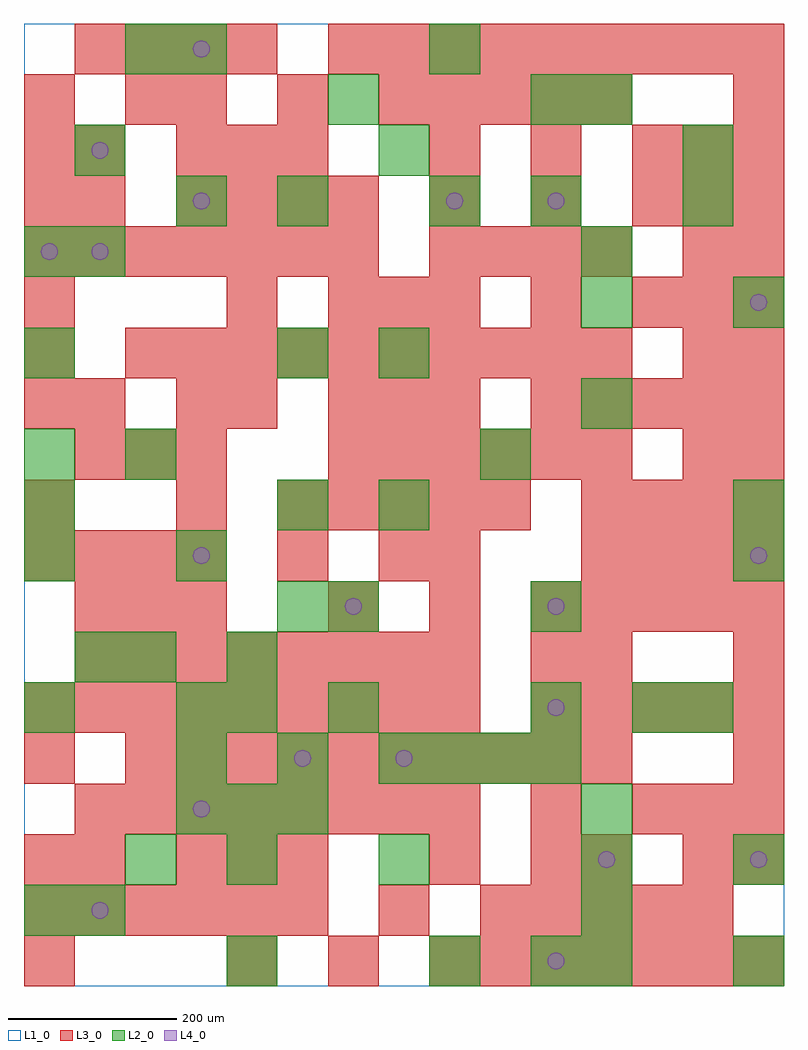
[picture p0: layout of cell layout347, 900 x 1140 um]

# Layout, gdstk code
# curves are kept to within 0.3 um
import gdstk
lib = gdstk.Library(unit=1e-6, precision=1e-09)
def R(c, l, rs):  # rectangles x0, y0, x1, y1
    for r in rs: c.add(gdstk.rectangle(r[:2], r[2:], *l))
def A(c, l, x, y, w, h, nx, ny, dx, dy):  # array of equal rectangles
    R(c, l, [(x+i*dx, y+j*dy, x+i*dx+w, y+j*dy+h) for i in range(nx) for j in range(ny)])
def P(c, l, *ps):  # polygons
    for p in ps: c.add(gdstk.Polygon(p, *l))
L1_0 = (1, 0)
L2_0 = (2, 0)
L3_0 = (3, 0)
L4_0 = (4, 0)

layout347 = lib.new_cell('layout347')
R(layout347, L1_0, [(0,0,900,1140)])
A(layout347, L2_0, 660, 0, 60, 60, 1, 4, 0, 60)
A(layout347, L2_0, 120, 120, 60, 60, 1, 3, 0, 240)
A(layout347, L2_0, 180, 180, 60, 60, 3, 1, 60, 0)
A(layout347, L2_0, 180, 240, 60, 60, 3, 1, 120, 0)
A(layout347, L2_0, 480, 240, 60, 60, 3, 1, 60, 0)
A(layout347, L2_0, 0, 480, 60, 60, 1, 3, 0, 60)
A(layout347, L2_0, 300, 540, 60, 60, 1, 3, 0, 180)
A(layout347, L2_0, 60, 960, 60, 60, 3, 1, 360, 0)
R(layout347, L2_0, [(240,0,300,60), (480,0,540,60), (600,0,660,60), (840,0,900,60), (0,60,60,120), (60,60,120,120), (240,120,300,180), (420,120,480,180), (840,120,900,180), (0,300,60,360), (180,300,240,360), (240,300,300,360), (360,300,420,360), (600,300,660,360), (720,300,780,360), (780,300,840,360), (60,360,120,420), (240,360,300,420), (300,420,360,480), (360,420,420,480), (600,420,660,480), (180,480,240,540), (840,480,900,540), (420,540,480,600), (840,540,900,600), (540,600,600,660), (660,660,720,720), (0,720,60,780), (420,720,480,780), (660,780,720,840), (840,780,900,840), (0,840,60,900), (60,840,120,900), (660,840,720,900), (180,900,240,960), (480,900,540,960), (600,900,660,960), (780,900,840,960), (360,1020,420,1080), (600,1020,660,1080), (660,1020,720,1080), (120,1080,180,1140), (180,1080,240,1140), (480,1080,540,1140)])
A(layout347, L3_0, 0, 0, 60, 60, 1, 3, 0, 120)
A(layout347, L3_0, 240, 0, 60, 60, 3, 1, 120, 0)
A(layout347, L3_0, 540, 0, 60, 60, 6, 1, 60, 0)
A(layout347, L3_0, 0, 60, 60, 60, 6, 1, 60, 0)
A(layout347, L3_0, 540, 60, 60, 60, 5, 1, 60, 0)
A(layout347, L3_0, 180, 120, 60, 60, 3, 2, 60, 840)
A(layout347, L3_0, 840, 120, 60, 60, 1, 3, 0, 120)
A(layout347, L3_0, 60, 180, 60, 60, 8, 2, 60, 180)
A(layout347, L3_0, 720, 180, 60, 60, 3, 2, 60, 600)
A(layout347, L3_0, 120, 240, 60, 60, 10, 2, 60, 480)
A(layout347, L3_0, 0, 300, 60, 60, 9, 1, 60, 0)
A(layout347, L3_0, 600, 300, 60, 60, 5, 2, 60, 360)
A(layout347, L3_0, 60, 420, 60, 60, 3, 2, 60, 180)
A(layout347, L3_0, 360, 420, 60, 60, 3, 1, 120, 0)
A(layout347, L3_0, 660, 420, 60, 60, 4, 3, 60, 60)
A(layout347, L3_0, 0, 480, 60, 60, 4, 1, 60, 0)
A(layout347, L3_0, 300, 540, 60, 60, 5, 1, 60, 0)
A(layout347, L3_0, 360, 600, 60, 60, 6, 1, 60, 0)
A(layout347, L3_0, 780, 600, 60, 60, 1, 3, 0, 120)
A(layout347, L3_0, 840, 600, 60, 60, 1, 3, 0, 120)
A(layout347, L3_0, 0, 660, 60, 60, 1, 3, 0, 60)
A(layout347, L3_0, 360, 660, 60, 60, 3, 2, 60, 120)
A(layout347, L3_0, 0, 840, 60, 60, 7, 1, 60, 0)
A(layout347, L3_0, 480, 840, 60, 60, 4, 2, 60, 180)
A(layout347, L3_0, 0, 900, 60, 60, 1, 3, 0, 60)
A(layout347, L3_0, 180, 900, 60, 60, 4, 1, 60, 0)
A(layout347, L3_0, 480, 900, 60, 60, 3, 2, 120, 60)
A(layout347, L3_0, 840, 900, 60, 60, 1, 3, 0, 60)
A(layout347, L3_0, 180, 1020, 60, 60, 3, 1, 120, 0)
A(layout347, L3_0, 60, 1080, 60, 60, 4, 1, 60, 0)
A(layout347, L3_0, 360, 1080, 60, 60, 9, 1, 60, 0)
R(layout347, L3_0, [(420,60,480,120), (60,120,120,180), (480,120,540,180), (600,120,660,180), (660,120,720,180), (780,120,840,180), (600,180,660,240), (600,360,660,420), (660,360,720,420), (300,480,360,540), (420,480,480,540), (480,480,540,540), (0,540,60,600), (180,540,240,600), (60,660,120,720), (180,660,240,720), (240,660,300,720), (240,780,300,840), (600,780,660,840), (60,900,120,960), (780,900,840,960), (60,960,120,1020), (780,960,840,1020), (120,1020,180,1080)])
P(layout347, L4_0, [(40,870),(39.239,873.827),(37.071,877.071),(33.827,879.239),(30,880),(26.173,879.239),(22.929,877.071),(20.761,873.827),(20,870),(20.761,866.173),(22.929,862.929),(26.173,860.761),(30,860),(33.827,860.761),(37.071,862.929),(39.239,866.173)],
  [(100,90),(99.239,93.827),(97.071,97.071),(93.827,99.239),(90,100),(86.173,99.239),(82.929,97.071),(80.761,93.827),(80,90),(80.761,86.173),(82.929,82.929),(86.173,80.761),(90,80),(93.827,80.761),(97.071,82.929),(99.239,86.173)],
  [(100,870),(99.239,873.827),(97.071,877.071),(93.827,879.239),(90,880),(86.173,879.239),(82.929,877.071),(80.761,873.827),(80,870),(80.761,866.173),(82.929,862.929),(86.173,860.761),(90,860),(93.827,860.761),(97.071,862.929),(99.239,866.173)],
  [(100,990),(99.239,993.827),(97.071,997.071),(93.827,999.239),(90,1000),(86.173,999.239),(82.929,997.071),(80.761,993.827),(80,990),(80.761,986.173),(82.929,982.929),(86.173,980.761),(90,980),(93.827,980.761),(97.071,982.929),(99.239,986.173)],
  [(220,210),(219.239,213.827),(217.071,217.071),(213.827,219.239),(210,220),(206.173,219.239),(202.929,217.071),(200.761,213.827),(200,210),(200.761,206.173),(202.929,202.929),(206.173,200.761),(210,200),(213.827,200.761),(217.071,202.929),(219.239,206.173)],
  [(220,510),(219.239,513.827),(217.071,517.071),(213.827,519.239),(210,520),(206.173,519.239),(202.929,517.071),(200.761,513.827),(200,510),(200.761,506.173),(202.929,502.929),(206.173,500.761),(210,500),(213.827,500.761),(217.071,502.929),(219.239,506.173)],
  [(220,930),(219.239,933.827),(217.071,937.071),(213.827,939.239),(210,940),(206.173,939.239),(202.929,937.071),(200.761,933.827),(200,930),(200.761,926.173),(202.929,922.929),(206.173,920.761),(210,920),(213.827,920.761),(217.071,922.929),(219.239,926.173)],
  [(220,1110),(219.239,1113.827),(217.071,1117.071),(213.827,1119.239),(210,1120),(206.173,1119.239),(202.929,1117.071),(200.761,1113.827),(200,1110),(200.761,1106.173),(202.929,1102.929),(206.173,1100.761),(210,1100),(213.827,1100.761),(217.071,1102.929),(219.239,1106.173)],
  [(340,270),(339.239,273.827),(337.071,277.071),(333.827,279.239),(330,280),(326.173,279.239),(322.929,277.071),(320.761,273.827),(320,270),(320.761,266.173),(322.929,262.929),(326.173,260.761),(330,260),(333.827,260.761),(337.071,262.929),(339.239,266.173)],
  [(400,450),(399.239,453.827),(397.071,457.071),(393.827,459.239),(390,460),(386.173,459.239),(382.929,457.071),(380.761,453.827),(380,450),(380.761,446.173),(382.929,442.929),(386.173,440.761),(390,440),(393.827,440.761),(397.071,442.929),(399.239,446.173)],
  [(460,270),(459.239,273.827),(457.071,277.071),(453.827,279.239),(450,280),(446.173,279.239),(442.929,277.071),(440.761,273.827),(440,270),(440.761,266.173),(442.929,262.929),(446.173,260.761),(450,260),(453.827,260.761),(457.071,262.929),(459.239,266.173)],
  [(520,930),(519.239,933.827),(517.071,937.071),(513.827,939.239),(510,940),(506.173,939.239),(502.929,937.071),(500.761,933.827),(500,930),(500.761,926.173),(502.929,922.929),(506.173,920.761),(510,920),(513.827,920.761),(517.071,922.929),(519.239,926.173)],
  [(640,30),(639.239,33.827),(637.071,37.071),(633.827,39.239),(630,40),(626.173,39.239),(622.929,37.071),(620.761,33.827),(620,30),(620.761,26.173),(622.929,22.929),(626.173,20.761),(630,20),(633.827,20.761),(637.071,22.929),(639.239,26.173)],
  [(640,330),(639.239,333.827),(637.071,337.071),(633.827,339.239),(630,340),(626.173,339.239),(622.929,337.071),(620.761,333.827),(620,330),(620.761,326.173),(622.929,322.929),(626.173,320.761),(630,320),(633.827,320.761),(637.071,322.929),(639.239,326.173)],
  [(640,450),(639.239,453.827),(637.071,457.071),(633.827,459.239),(630,460),(626.173,459.239),(622.929,457.071),(620.761,453.827),(620,450),(620.761,446.173),(622.929,442.929),(626.173,440.761),(630,440),(633.827,440.761),(637.071,442.929),(639.239,446.173)],
  [(640,930),(639.239,933.827),(637.071,937.071),(633.827,939.239),(630,940),(626.173,939.239),(622.929,937.071),(620.761,933.827),(620,930),(620.761,926.173),(622.929,922.929),(626.173,920.761),(630,920),(633.827,920.761),(637.071,922.929),(639.239,926.173)],
  [(700,150),(699.239,153.827),(697.071,157.071),(693.827,159.239),(690,160),(686.173,159.239),(682.929,157.071),(680.761,153.827),(680,150),(680.761,146.173),(682.929,142.929),(686.173,140.761),(690,140),(693.827,140.761),(697.071,142.929),(699.239,146.173)],
  [(880,150),(879.239,153.827),(877.071,157.071),(873.827,159.239),(870,160),(866.173,159.239),(862.929,157.071),(860.761,153.827),(860,150),(860.761,146.173),(862.929,142.929),(866.173,140.761),(870,140),(873.827,140.761),(877.071,142.929),(879.239,146.173)],
  [(880,510),(879.239,513.827),(877.071,517.071),(873.827,519.239),(870,520),(866.173,519.239),(862.929,517.071),(860.761,513.827),(860,510),(860.761,506.173),(862.929,502.929),(866.173,500.761),(870,500),(873.827,500.761),(877.071,502.929),(879.239,506.173)],
  [(880,810),(879.239,813.827),(877.071,817.071),(873.827,819.239),(870,820),(866.173,819.239),(862.929,817.071),(860.761,813.827),(860,810),(860.761,806.173),(862.929,802.929),(866.173,800.761),(870,800),(873.827,800.761),(877.071,802.929),(879.239,806.173)])

lib.write_gds('layout347.gds')
